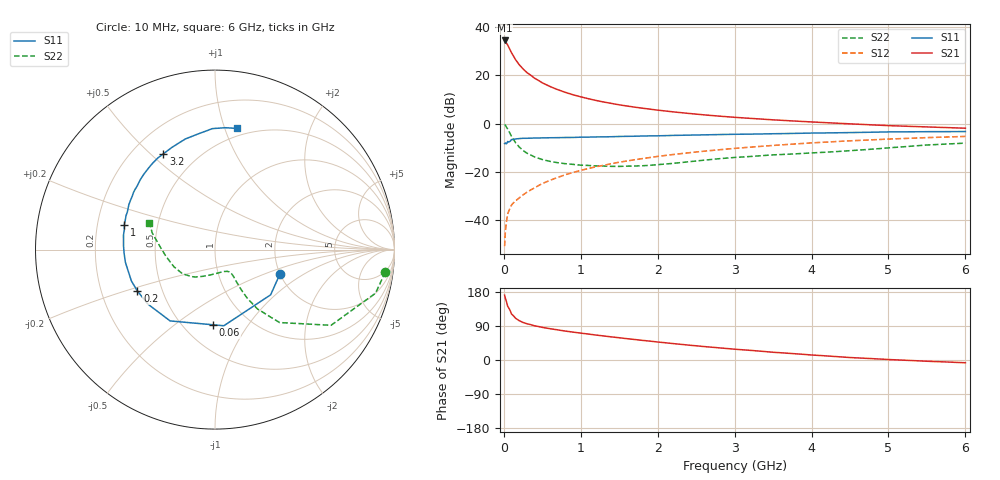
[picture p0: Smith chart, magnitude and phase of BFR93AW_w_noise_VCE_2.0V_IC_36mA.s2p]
! Infineon Technologies  Discrete & RF Semiconductors
! BFR93AW
! VCE =  2.0 V,  IC =  36 mA
! Common Emitter S-Parameters:  Jan 2017
# GHz  S  MA  R  50
!  f  S11  S21  S12  S22
! GHz  MAG  ANG  MAG  ANG  MAG  ANG  MAG  ANG
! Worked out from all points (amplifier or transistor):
!   77 points, 10 MHz to 6 GHz, reference 50 ohm
!   highest |S21| = 34.4 dB at 10 MHz (marker M1)
!   |S21| within 3 dB of that: start of sweep to 67.56 MHz
!   unconditionally stable (mu >= 1): 456.7 MHz to 2.171 GHz
!   at 130 MHz: K = 0.61, MSG = 30.2 dB, |S12| = -32.7 dB
!   at 2.2 GHz: K = 1.00, MSG = 8.8 dB, |S12| = -12.8 dB
!   at 6 GHz: K = 0.92, MSG = 1.7 dB, |S12| = -5.3 dB
!   lowest NFmin = 1.95 dB at 450 MHz
!   S11 on the Smith chart (normalised r, x): 10 MHz: 2.01, -0.63; 60 MHz: 0.69, -0.70; 200 MHz: 0.36, -0.22; 1 GHz: 0.32, +0.12; 3.2 GHz: 0.33, +0.55; 6 GHz: 0.43, +1.10
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0.01  0.3867 -20.2  52.78 171.1  0.0029 83.1  0.9571 -7.5
0.02  0.3995 -39.1  51.61 162.8  0.0058 77.5  0.9268 -15.2
0.05  0.4271 -83.4  42.5 141.6  0.0134 64.6  0.7722 -33.1
0.06  0.419 -91.5  39.53 138.6  0.0148 63.3  0.723 -35.4
0.1  0.4696 -122.2  29.25 121.2  0.0206 59.8  0.5426 -48.5
0.15  0.4818 -141.0  21.36 110.5  0.025 58.7  0.4068 -54.4
0.2  0.49 -151.9  16.62 103.8  0.0289 60.9  0.3283 -56.4
0.25  0.4975 -159.4  13.55 99.0  0.0335 62.7  0.2786 -56.8
0.3  0.4974 -164.5  11.41 95.6  0.038 64.4  0.2443 -56.7
0.4  0.5043 -172.0  8.702 90.2  0.0468 67.4  0.204 -56.1
0.5  0.5066 -177.5  6.999 86.1  0.0572 69.2  0.1804 -55.4
0.6  0.51 177.9  5.877 82.6  0.0672 69.7  0.1654 -55.5
0.7  0.5123 174.2  5.056 79.5  0.0768 70.8  0.1551 -55.9
1  0.524 164.7  3.588 70.9  0.1077 70.6  0.138 -61.1
1.1  0.5259 162.0  3.278 68.4  0.1177 69.7  0.1361 -63.4
1.5  0.5418 152.2  2.452 58.7  0.1588 67.4  0.1301 -77.3
2.1  0.5644 139.0  1.827 45.5  0.2194 62.1  0.1456 -102.5
3.1  0.6037 120.1  1.319 27.0  0.3161 51.9  0.2038 -133.7
3.2  0.6063 118.3  1.287 25.5  0.3253 50.8  0.2087 -136.3
4.1  0.6401 103.6  1.064 12.0  0.4072 40.9  0.2519 -160.4
5.1  0.6751 90.0  0.898 0.4  0.4853 29.7  0.3234 172.6
6  0.6863 79.6  0.804 -7.3  0.5434 19.7  0.3952 157.8
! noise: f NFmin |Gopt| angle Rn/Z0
0.45  1.95  0.21  178  0.16
0.9  2.22  0.28  -172  0.17
1.9  3.28  0.52  -134  0.32
2.4  3.96  0.56  -123  0.61
